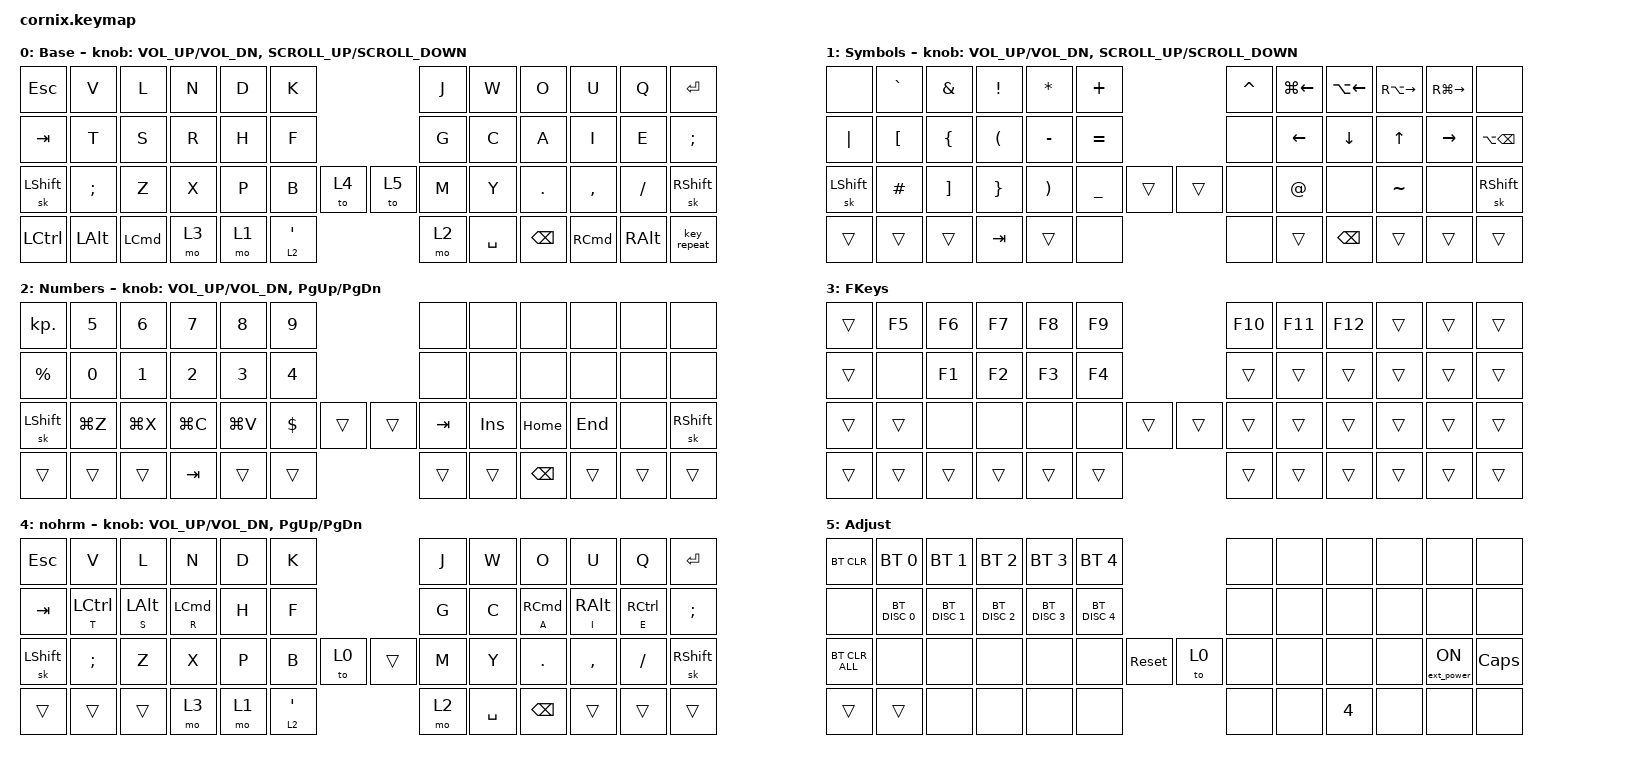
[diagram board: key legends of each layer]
/*
 * Copyright (c) 2020 The ZMK Contributors
 *
 * SPDX-License-Identifier: MIT
 */

#include "zmk-helpers/helper.h"
#include "includes/cornix54.h"

// tap windows for ctl alt and gui

#define HM_TAPPING_TERM 250
#define HM_TAPPING_REPEAT 210

// quick tapping for shift

#define HM_TAPPING_TERM_FAST 200
#define HM_PRIOR_IDLE 70
#define BASE 0
#define WIN 1
#define LOWER 2
#define RAISE 3
#define ADJUST 4
#define NAVI   5
#define NUM    6
#define DEBUG  7

// https://github.com/urob/zmk-config/tree/main#timeless-homerow-mods

#define KEYS_L LT0 LT1 LT2 LT3 LT4 LT5 LM0 LM1 LM2 LM3 LM4 LM5 LB0 LB1 LB2 LB3 LB4 LB5  // left hand
#define KEYS_R RT0 RT1 RT2 RT3 RT4 RT5 RM0 RM1 RM2 RM3 RM4 RM5 RB0 RB1 RB2 RB3 RB4 RB5  // right hand
#define THUMBS LH1 LH0 RH0 RH1
#define KEYS_T LH1 LH0 RH0 RH1
#define ZMK_POINTING_DEFAULT_SCRL_VAL 15

#include <behaviors.dtsi>
#include <dt-bindings/zmk/bt.h>
#include <dt-bindings/zmk/ext_power.h>
#include <dt-bindings/zmk/keys.h>

/ {
    // Activate ADJUST layer by pressing raise and lower

    behaviors {
        hm_l: homerow_mods_left {
            compatible = "zmk,behavior-hold-tap";
            #binding-cells = <2>;
            bindings = <&kp>, <&kp>;

            flavor = "balanced";
            tapping-term-ms = <300>;
            quick-tap-ms = <175>;                // repeat on tap-into-hold
            require-prior-idle-ms = <150>;
            hold-trigger-key-positions = <KEYS_R KEYS_T 6 18 32 33 19 7 8 34 20 9 21 35 36 22 10 11 23 37 49 48 47 45 44 46 7 19 33 46>;
            hold-trigger-on-release;
        };

        hm_r: homerow_mods_right {
            compatible = "zmk,behavior-hold-tap";
            #binding-cells = <2>;
            bindings = <&kp>, <&kp>;

            flavor = "balanced";
            tapping-term-ms = <HM_TAPPING_TERM>;
            quick-tap-ms = <200>;
            require-prior-idle-ms = <300>;
            hold-trigger-key-positions = <KEYS_L KEYS_T>;
            hold-trigger-on-release;
        };

        // Positional Homerow mods for shift
        // Use faster tapping term and disable some features that may
        // cause false negatives.

        hm_shift_l: hm_shift_l {
            compatible = "zmk,behavior-hold-tap";
            #binding-cells = <2>;
            bindings = <&kp>, <&kp>;

            //flavor = "balanced";

            flavor = "balanced";
            tapping-term-ms = <HM_TAPPING_TERM_FAST>;
            quick-tap-ms = <200>;
            require-prior-idle-ms = <HM_PRIOR_IDLE>;
            hold-trigger-key-positions = <KEYS_R KEYS_T>;
            hold-trigger-on-release;
        };

        hm_shift_r: hm_shift_r {
            compatible = "zmk,behavior-hold-tap";
            #binding-cells = <2>;
            bindings = <&kp>, <&kp>;

            flavor = "balanced";
            tapping-term-ms = <280>;
            quick-tap-ms = <175>;
            require-prior-idle-ms = <150>;
            hold-trigger-key-positions = <KEYS_L KEYS_T 5 17 29 28 16 4 3 15 27 14 2 25 13 1 26 24 12 0 41 42 43 40 38 39>;

            // for quick tapping; shift+~

            hold-trigger-on-release;
        };

        /*
         * Non-Positional Homerow Mods
         * Used for &mm_grescm_gui behavior on left hand.
         *
         * Usage: &hm LSHFT T
         * Tap: T
         * Tap-Tap-Hold: Repeat T
         * Hold: LSHIFT
         */

        hm: homerow_mods {
            compatible = "zmk,behavior-hold-tap";
            #binding-cells = <2>;
            bindings = <&kp>, <&kp>;

            flavor = "balanced";
            tapping-term-ms = <HM_TAPPING_TERM>;
            quick-tap-ms = <200>;
        };

        lt: layer_tap {
            compatible = "zmk,behavior-hold-tap";
            #binding-cells = <2>;
            bindings = <&mo>, <&kp>;

            flavor = "hold-preferred";
            tapping-term-ms = <HM_TAPPING_TERM>;
            quick-tap-ms = <160>;
        };
    };

    conditional_layers { compatible = "zmk,conditional-layers"; };

    combos {
        compatible = "zmk,combos";

        quick_lcmd {
            bindings = <&sk LCMD>;
            key-positions = <14 42>;
            layers = <1 2>;
        };

        quick_rcmd {
            bindings = <&sk RGUI>;
            key-positions = <21 46>;
            layers = <1 2>;
        };

        quick_lopt {
            bindings = <&sk LALT>;
            key-positions = <15 42>;
            layers = <2 1>;
        };

        quick_lctrl {
            bindings = <&sk LCTRL>;
            key-positions = <13 42>;
            layers = <1 2>;
        };

        quick_ropt {
            bindings = <&sk RIGHT_ALT>;
            key-positions = <20 46>;
            layers = <1 2>;
        };

        quick_rctrl {
            bindings = <&sk LCTRL>;
            key-positions = <22 46>;
            layers = <1 2>;
        };
    };

    macros {
        que: que {
            compatible = "zmk,behavior-macro";
            #binding-cells = <0>;
            bindings = <&kp Q &kp U &kp E>;
            label = "QUE";
        };

        qui: qui {
            compatible = "zmk,behavior-macro";
            #binding-cells = <0>;
            bindings = <&kp Q &kp U &kp I>;
            label = "QUI";
        };
    };

    keymap {
        compatible = "zmk,keymap";

        default_layer {
            display-name = "Base";

            // ------------------------------------------------------------------------------------------------------------
            // |   `   |  1  |  2  |  3   |  4   |  5   |                   |  6   |  7    |  8    |  9   |   0   |       |
            // |  ESC  |  Q  |  W  |  E   |  R   |  T   |                   |  Y   |  U    |  I    |  O   |   P   | BKSPC |
            // |  TAB  |  A  |  S  |  D   |  F   |  G   |                   |  H   |  J    |  K    |  L   |   ;   |   '   |
            // | SHIFT |  Z  |  X  |  C   |  V   |  B   |  MUTE  |  |       |  N   |  M    |  ,    |  .   |   /   | SHIFT |
            //               | GUI | ALT  | CTRL | LOWER|  ENTER |  | SPACE | RAISE| CTRL  | ALT   | GUI  |

            bindings = <
&kp ESCAPE        &kp V          &kp L             &kp N  &kp D  &kp K                    &kp J  &kp W      &kp O          &kp U              &kp Q          &kp ENTER
&kp TAB           &kp T          &kp S             &kp R  &kp H  &kp F                    &kp G  &kp C      &kp A          &kp I              &kp E          &kp SEMICOLON
&sk LEFT_SHIFT    &kp SEMICOLON  &kp Z             &kp X  &kp P  &kp B      &to 4  &to 5  &kp M  &kp Y      &kp PERIOD     &kp COMMA          &kp FSLH       &sk RIGHT_SHIFT
&kp LEFT_CONTROL  &kp LEFT_ALT   &kp LEFT_COMMAND  &mo 3  &mo 1  &lt 2 SQT                &mo 2  &kp SPACE  &kp BACKSPACE  &kp RIGHT_COMMAND  &kp RIGHT_ALT  &key_repeat
            >;

            sensor-bindings =
                <&inc_dec_kp C_VOL_UP C_VOL_DN>,
                <&inc_dec_kp K_SCROLL_UP K_SCROLL_DOWN>;
        };

        Symbols {
            display-name = "Symbols";

            // TODO: Some binds are waiting for shifted keycode support.
            // -------------------------------
            // |       |  F1 |  F2 |  F3  |  F4  |  F5  |                   |  F6  |  F7   |  F8   |  F9  |  F10  |  F11  |
            // |   `   |  1  |  2  |  3   |  4   |  5   |                   |  6   |  7    |  8    |  9   |   0   |  F12  |
            // |       |  !  |  @  |  #   |  $   |  %   |                   |  ^   |  &    |  *    |  (   |   )   |   |   |
            // |       |  =  |  -  |  +   |  {   |  }   |        |  |       |  [   |  ]    |  ;    |  :   |   \   |       |
            //               |     |      |      |      |        |  |       |      |       |       |      |

            bindings = <
&none           &kp GRAVE         &kp AMPERSAND   &kp EXCLAMATION       &kp ASTERISK           &kp PLUS                        &kp CARET  &kp LG(LEFT_ARROW)  &kp LA(LEFT_ARROW)  &kp RA(RIGHT_ARROW)  &kp RG(RIGHT)  &none
&kp PIPE        &kp LEFT_BRACKET  &kp LEFT_BRACE  &kp LEFT_PARENTHESIS  &kp MINUS              &kp EQUAL                       &none      &kp LEFT            &kp DOWN_ARROW      &kp UP_ARROW         &kp RIGHT      &kp LA(BACKSPACE)
&sk LEFT_SHIFT  &kp HASH          &kp RBKT        &kp RIGHT_BRACE       &kp RIGHT_PARENTHESIS  &kp UNDERSCORE  &trans  &trans  &none      &kp AT_SIGN         &none               &kp TILDE            &none          &sk RIGHT_SHIFT
&trans          &trans            &trans          &kp TAB               &trans                 &none                           &none      &trans              &kp BACKSPACE       &trans               &trans         &trans
            >;

            sensor-bindings =
                <&inc_dec_kp C_VOL_UP C_VOL_DN>,
                <&inc_dec_kp K_SCROLL_UP K_SCROLL_DOWN>;
        };

        Numbers {
            display-name = "Numbers";

            // ------------------------------------------------------------------------------------------------------------
            // | BTCLR | BT1  | BT2  |  BT3  |  BT4  |  BT5 |                |      |      |       |      |       |       |
            // |       | INS  | PSCR | GUI   |       |      |                | PGUP |      |   ^   |      |       |       |
            // |       | ALT  | CTRL | SHIFT |       | CAPS |                | PGDN |   <- |   v   |  ->  |  DEL  | BKSPC |
            // |       | UNDO | CUT  | COPY  | PASTE |      |      |  |      |      |      |       |      |       |       |
            //                |      |       |       |      |      |  |      |      |      |       |      |

            bindings = <
&kp KP_DOT      &kp NUMBER_5  &kp NUMBER_6  &kp NUMBER_7  &kp NUMBER_8  &kp NUMBER_9                  &none    &none    &none          &none    &none   &none
&kp PERCENT     &kp NUMBER_0  &kp NUMBER_1  &kp NUMBER_2  &kp NUMBER_3  &kp NUMBER_4                  &none    &none    &none          &none    &none   &none
&sk LEFT_SHIFT  &kp LG(Z)     &kp LG(X)     &kp LG(C)     &kp LG(V)     &kp DOLLAR    &trans  &trans  &kp TAB  &kp INS  &kp HOME       &kp END  &none   &sk RIGHT_SHIFT
&trans          &trans        &trans        &kp TAB       &trans        &trans                        &trans   &trans   &kp BACKSPACE  &trans   &trans  &trans
            >;

            sensor-bindings = <&inc_dec_kp C_VOL_UP C_VOL_DN &inc_dec_kp PG_UP PG_DN>;
        };

        FKeys {
            bindings = <
&trans  &kp F5  &kp F6  &kp F7  &kp F8  &kp F9                  &kp F10  &kp F11  &kp F12  &trans  &trans  &trans
&trans  &none   &kp F1  &kp F2  &kp F3  &kp F4                  &trans   &trans   &trans   &trans  &trans  &trans
&trans  &trans  &none   &none   &none   &none   &trans  &trans  &trans   &trans   &trans   &trans  &trans  &trans
&trans  &trans  &trans  &trans  &trans  &trans                  &trans   &trans   &trans   &trans  &trans  &trans
            >;
        };

        no_hrm {
            display-name = "nohrm";
            bindings = <
&kp ESCAPE      &kp V          &kp L             &kp N         &kp D  &kp K                     &kp J  &kp W      &kp O          &kp U         &kp Q          &kp ENTER
&kp TAB         &hm_l T LCTRL  &hm_l S LEFT_ALT  &hm_l R LCMD  &kp H  &kp F                     &kp G  &kp C      &hm_r A RCMD   &hm_r I RALT  &hm_r E RCTRL  &kp SEMICOLON
&sk LEFT_SHIFT  &kp SEMICOLON  &kp Z             &kp X         &kp P  &kp B      &to 0  &trans  &kp M  &kp Y      &kp PERIOD     &kp COMMA     &kp FSLH       &sk RIGHT_SHIFT
&trans          &trans         &trans            &mo 3         &mo 1  &lt 2 SQT                 &mo 2  &kp SPACE  &kp BACKSPACE  &trans        &trans         &trans
            >;

            sensor-bindings =
                <&inc_dec_kp C_VOL_UP C_VOL_DN>,
                <&inc_dec_kp PG_UP PG_DN>;
        };

        Adjustments {
            display-name = "Adjust";

            // ----------------------------------------------------------------------------------------------------------------------------
            // | BTCLR  |  BT1    |  BT2    |   BT3   |   BT4   |   BT5   |                  |      |      |       |      |       |       |
            // | moDEBUG| RGB_HUD | RGB_HUI | RGB_SAD | RGB_SAI | RGB_EFF |                  |      |      |       |      |       |       |
            // | EXTPWR | RGB_BRD | RGB_BRI |         |         |         |                  |      |      |       |      |       |       |
            // |        |         |         |         |         |         | RGB_TOG | |      |      |      |       |      |       |       |
            //                    |         |         |         |         |         | |      |      |      |       |      |

            bindings = <
&bt BT_CLR      &bt BT_SEL 0   &bt BT_SEL 1   &bt BT_SEL 2   &bt BT_SEL 3   &bt BT_SEL 4                      &none  &none  &none   &none  &none             &none
&none           &bt BT_DISC 0  &bt BT_DISC 1  &bt BT_DISC 2  &bt BT_DISC 3  &bt BT_DISC 4                     &none  &none  &none   &none  &none             &none
&bt BT_CLR_ALL  &none          &none          &none          &none          &none          &sys_reset  &to 0  &none  &none  &none   &none  &ext_power EP_ON  &kp CAPSLOCK
&trans          &trans         &none          &none          &none          &none                             &none  &none  &kp N4  &none  &none             &none
            >;
        };
    };
};
